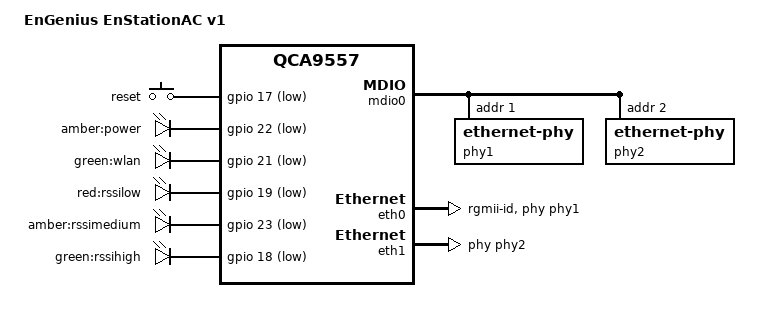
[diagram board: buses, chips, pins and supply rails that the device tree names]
// SPDX-License-Identifier: GPL-2.0-or-later OR MIT

#include "qca955x_senao_loader.dtsi"

#include <dt-bindings/gpio/gpio.h>
#include <dt-bindings/input/input.h>

/ {
	compatible = "engenius,enstationac-v1", "qca,qca9557";
	model = "EnGenius EnStationAC v1";

	aliases {
		label-mac-device = &eth0;
		led-boot = &led_power;
		led-failsafe = &led_power;
		led-running = &led_power;
		led-upgrade = &led_power;
	};

	keys {
		compatible = "gpio-keys";

		reset {
			label = "reset";
			gpios = <&gpio 17 GPIO_ACTIVE_LOW>;
			debounce-interval = <60>;
			linux,code = <KEY_RESTART>;
		};
	};

	leds {
		compatible = "gpio-leds";

		led_power: power {
			label = "amber:power";
			gpios = <&gpio 22 GPIO_ACTIVE_LOW>;
			default-state = "on";
		};

		wlan {
			label = "green:wlan";
			gpios = <&gpio 21 GPIO_ACTIVE_LOW>;
			linux,default-trigger = "phy0tpt";
		};

		rssilow {
			label = "red:rssilow";
			gpios = <&gpio 19 GPIO_ACTIVE_LOW>;
		};

		rssimedium {
			label = "amber:rssimedium";
			gpios = <&gpio 23 GPIO_ACTIVE_LOW>;
		};

		rssihigh {
			label = "green:rssihigh";
			gpios = <&gpio 18 GPIO_ACTIVE_LOW>;
		};
	};
};

&partitions {
	art: partition@ff0000 {
		label = "art";
		reg = <0xff0000 0x010000>;
		read-only;
	};
};

&mdio0 {
	status = "okay";

	phy1: ethernet-phy@1 {
		reg = <1>;
		eee-broken-100tx;
		eee-broken-1000t;
	};

	phy2: ethernet-phy@2 {
		reg = <2>;
		eee-broken-100tx;
		eee-broken-1000t;
		at803x-override-sgmii-link-check;
	};
};

&eth0 {
	status = "okay";

	nvmem-cells = <&macaddr_art_0>;
	nvmem-cell-names = "mac-address";

	phy-handle = <&phy1>;
	phy-mode = "rgmii-id";

	pll-data = <0x82000000 0x80000101 0x80001313>;
};

&eth1 {
	status = "okay";

	nvmem-cells = <&macaddr_art_0>;
	nvmem-cell-names = "mac-address";
	mac-address-increment = <1>;

	phy-handle = <&phy2>;

	pll-data = <0x03000000 0x00000101 0x00001313>;

	qca955x-sgmii-fixup;
};

&art {
	compatible = "nvmem-cells";
	#address-cells = <1>;
	#size-cells = <1>;

	macaddr_art_0: macaddr@0 {
		reg = <0x0 0x6>;
	};
};
